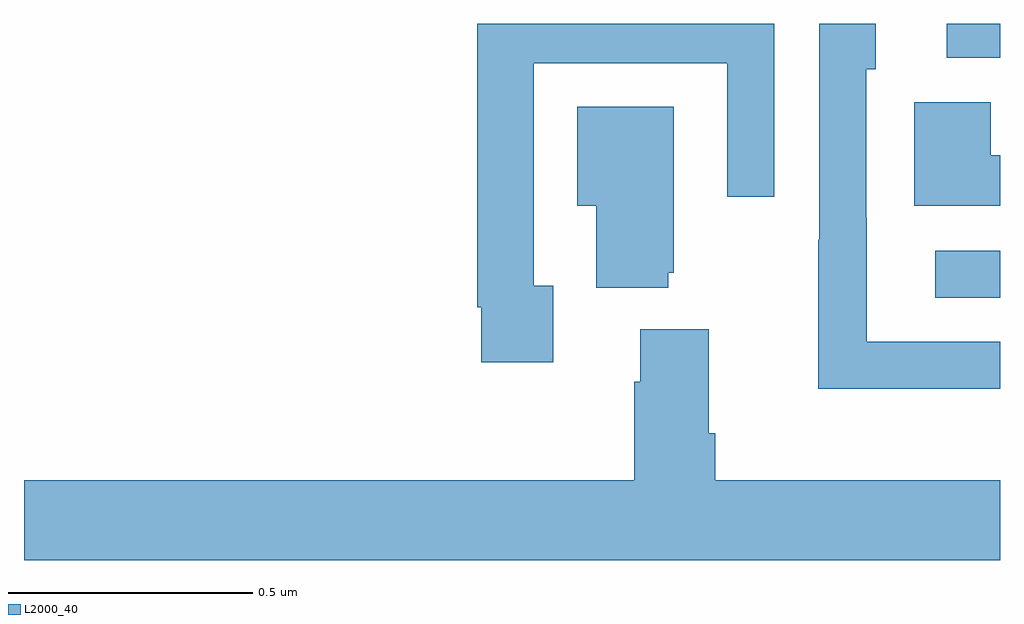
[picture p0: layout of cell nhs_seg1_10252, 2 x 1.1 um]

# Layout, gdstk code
import gdstk
lib = gdstk.Library(unit=1e-6, precision=1e-09)
def R(c, l, rs):  # rectangles x0, y0, x1, y1
    for r in rs: c.add(gdstk.rectangle(r[:2], r[2:], *l))
def P(c, l, *ps):  # polygons
    for p in ps: c.add(gdstk.Polygon(p, *l))
L2000_40 = (2000, 40)

nhs_seg1_10252 = lib.new_cell('nhs_seg1_10252')
R(nhs_seg1_10252, L2000_40, [(240.867,517.638,241,517.734), (240.891,518.13,241,518.199)])
P(nhs_seg1_10252, L2000_40, [(241,517.548),(240.727,517.548),(240.727,517.802),(240.726,517.802),(240.726,518.106),(240.745,518.106),(240.745,518.199),(240.63,518.199),(240.63,517.757),(240.628,517.757),(240.628,517.451),(241,517.451)],
  [(240.085,517.662),(240.045,517.662),(240.045,518.118),(240.441,518.118),(240.441,517.845),(240.537,517.845),(240.537,518.199),(239.929,518.199),(239.929,517.618),(239.937,517.618),(239.937,517.506),(240.085,517.506)],
  [(241,517.93),(240.981,517.93),(240.981,518.038),(240.824,518.038),(240.824,517.826),(241,517.826)],
  [(240.32,517.689),(240.331,517.689),(240.331,518.029),(240.134,518.029),(240.134,517.826),(240.173,517.826),(240.173,517.658),(240.32,517.658)],
  [(240.263,517.573),(240.263,517.466),(240.251,517.466),(240.251,517.264),(239,517.264),(239,517.1),(241,517.1),(241,517.264),(240.416,517.264),(240.416,517.36),(240.403,517.36),(240.403,517.573)])

lib.write_gds('nhs_seg1_10252.gds')
